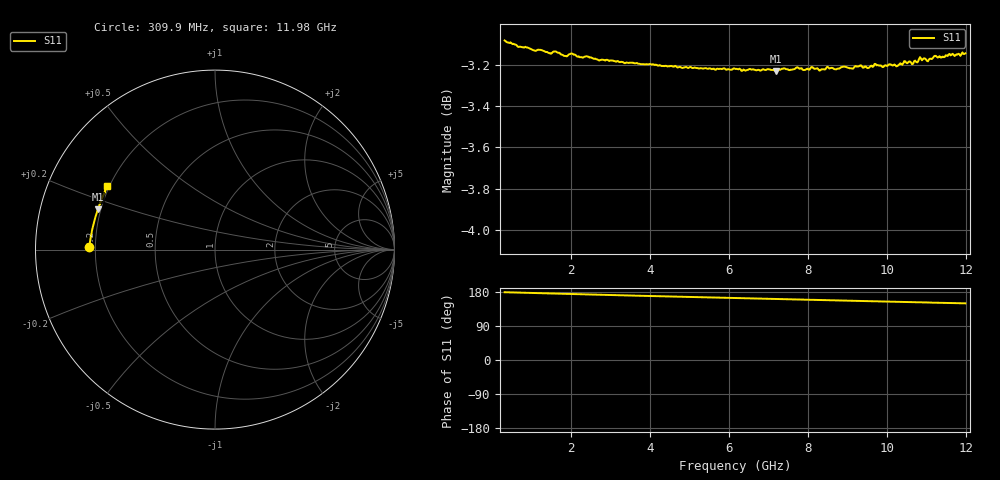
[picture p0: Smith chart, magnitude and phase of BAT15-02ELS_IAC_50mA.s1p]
! Infineon Technologies  Discrete & RF Semiconductors
! BAT15-02ELS
! IAC = 50 mA
! One-Port S-Parameters
# Hz  S  MA  R  50
!f  S11
!Hz  Mag  Ang
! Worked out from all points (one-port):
!   468 points, 309.9 MHz to 11.98 GHz, reference 50 ohm
!   lowest |S11| = -3.2 dB at 7.181 GHz (marker M1), VSWR 5.44, Z = 9.44 + j8.12 ohm
!   |S11| at or under -10 dB: nowhere
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3.0985e8  0.7014 178.9
1.784112e9  0.6957 174.7
2.033988e9  0.6962 174.0
3.233388e9  0.693 170.8
4.70765e9  0.6909 167.0
6.156925e9  0.6903 163.5
7.181412e9  0.6895 160.9
7.6062e9  0.6901 159.9
7.831088e9  0.6906 159.4
8.030988e9  0.6901 158.8
8.2059e9  0.6905 158.5
8.4058e9  0.6901 157.9
8.6057e9  0.6907 157.6
8.780612e9  0.6905 157.0
8.930538e9  0.6912 156.8
9.080462e9  0.6906 156.3
9.730138e9  0.6917 154.8
9.980012e9  0.6916 154.1
1.017991e10  0.6921 153.7
1.032984e10  0.6925 153.3
1.052974e10  0.6929 152.9
1.075462e10  0.6929 152.3
1.095452e10  0.6944 151.9
1.112944e10  0.6942 151.4
1.130435e10  0.695 151.1
1.145428e10  0.695 150.7
1.185408e10  0.6954 149.7
1.197901e10  0.6964 149.5
